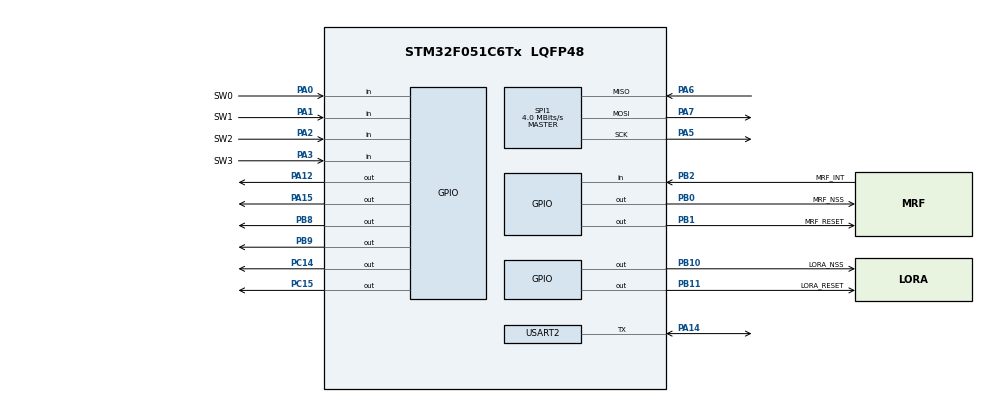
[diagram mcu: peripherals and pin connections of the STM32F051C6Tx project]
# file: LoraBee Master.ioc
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Mcu.Family=STM32F0
Mcu.Name=STM32F051C6Tx
Mcu.Package=LQFP48
PA0.GPIO_Label=SW0
PA0.GPIO_PuPd=GPIO_PULLUP
PA0.Signal=GPIO_Input
PA1.GPIO_Label=SW1
PA1.GPIO_PuPd=GPIO_PULLUP
PA1.Signal=GPIO_Input
PA12.Signal=GPIO_Output
PA14.Mode=Half_duplex(single_wire_mode)
PA14.Signal=USART2_TX
PA15.Signal=GPIO_Output
PA2.GPIO_Label=SW2
PA2.GPIO_PuPd=GPIO_PULLUP
PA2.Signal=GPIO_Input
PA3.GPIO_Label=SW3
PA3.GPIO_PuPd=GPIO_PULLUP
PA3.Signal=GPIO_Input
PA5.Mode=Full_Duplex_Master
PA5.Signal=SPI1_SCK
PA6.Mode=Full_Duplex_Master
PA6.Signal=SPI1_MISO
PA7.Mode=Full_Duplex_Master
PA7.Signal=SPI1_MOSI
PB0.GPIO_Label=MRF_NSS
PB0.GPIO_PuPd=GPIO_PULLUP
PB0.PinState=GPIO_PIN_SET
PB0.Signal=GPIO_Output
PB1.GPIO_Label=MRF_RESET
PB1.PinState=GPIO_PIN_SET
PB1.Signal=GPIO_Output
PB10.GPIO_Label=LORA_NSS
PB10.GPIO_PuPd=GPIO_PULLUP
PB10.PinState=GPIO_PIN_SET
PB10.Signal=GPIO_Output
PB11.GPIO_Label=LORA_RESET
PB11.GPIO_PuPd=GPIO_NOPULL
PB11.PinState=GPIO_PIN_SET
PB11.Signal=GPIO_Output
PB2.GPIO_Label=MRF_INT
PB2.GPIO_PuPd=GPIO_PULLUP
PB2.Signal=GPIO_Input
PB8.Signal=GPIO_Output
PB9.Signal=GPIO_Output
PC14-OSC32_IN.Signal=GPIO_Output
PC15-OSC32_OUT.Signal=GPIO_Output
ProjectManager.HeapSize=0x200
ProjectManager.StackSize=0x400
ProjectManager.TargetToolchain=STM32CubeIDE
SPI1.CalculateBaudRate=4.0 MBits/s
SPI1.DataSize=SPI_DATASIZE_8BIT
SPI1.Direction=SPI_DIRECTION_2LINES
SPI1.Mode=SPI_MODE_MASTER
SPI1.VirtualType=VM_MASTER
USART2.VirtualMode-Half_duplex(single_wire_mode)=VM_ASYNC
board=custom

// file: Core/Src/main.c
/* USER CODE BEGIN Header */
/**
 ******************************************************************************
 * @file           : main.c
 * @brief          : Main program body
 ******************************************************************************
 * @attention
 *
 * <h2><center>&copy; Copyright (c) 2020 STMicroelectronics.
 * All rights reserved.</center></h2>
 *
 * This software component is licensed by ST under BSD 3-Clause license,
 * the "License"; You may not use this file except in compliance with the
 * License. You may obtain a copy of the License at:
 *                        opensource.org/licenses/BSD-3-Clause
 *
 ******************************************************************************
 */
/* USER CODE END Header */
#include "main.h"

/* USER CODE BEGIN Includes */
#include "lora_sx1276.h"
#include <strings.h>
#include <string.h>
#include <stdio.h>
#include "retarget.h"
#include "experiments.h"
#include "lib_mrf24j.h"

/* USER CODE END Includes */

SPI_HandleTypeDef hspi1;

UART_HandleTypeDef huart2;

void SystemClock_Config(void);
static void MX_GPIO_Init(void);
static void MX_SPI1_Init(void);
static void MX_USART2_UART_Init(void);

/* USER CODE BEGIN 0 */
uint8_t count_lora = 0;
uint8_t count_mrf = 0;
char val[4]; // Char array for numbers
uint8_t last_mrf_rssi = 0; // Last MRF packet RSSI
uint8_t last_lora_rssi = 0; // Last Lora packet RSSI
uint8_t last_lora_TA = 0;
uint8_t last_lora_TB = 0;
uint8_t last_lora_TC = 0;
uint8_t last_mrf_TA = 0;
uint8_t last_mrf_TB = 0;
uint8_t last_mrf_TC = 0;
uint8_t total_lora = 0;
uint8_t total_mrf = 0;
uint8_t live_vals[4] = {0};
char DEVICE_ID[] = "A";
/* USER CODE END 0 */

int main(void) {
    /* USER CODE BEGIN 1 */
    uint8_t PROGRAM = 0;
    // Modes:
    /*
     * Tower: This collects 1 packet from the environment and displays is RSSI value
     * 			0: Print		1: Collect MRF		2: Collect LORA		3: Check functionality
     * Joint: This collects all available packets in the network. It collects until enough have been obtained and displays them or till the limit is reached
     * 			0: Print		1: Collect LORA
     * Count: Counts the number of packets received and auto updates the counter
     * Live: Receive packet RSSI's as they come in
     * 			0: Pause		1: LoRa
     *
     * */
    /* USER CODE END 1 */

    /* MCU Configuration--------------------------------------------------------*/

    /* Reset of all peripherals, Initializes the Flash interface and the Systick. */
    HAL_Init();

    /* Configure the system clock */
    SystemClock_Config();

    /* Initialize all configured peripherals */
    MX_GPIO_Init();
    MX_SPI1_Init();
    MX_USART2_UART_Init();
    /* USER CODE BEGIN 2 */
    RetargetInit( & huart2);
    // Init LCD
    init_LCD();

    // Initialise LORA
    lora_sx1276 lora;
    uint8_t res = lora_init( & lora, & hspi1, LORA_NSS_GPIO_Port, LORA_NSS_Pin, LORA_BASE_FREQUENCY_EU);
    uint8_t ver = lora_version( & lora);
    _delay_ms(100);
    printf("Starting Lora up...");
    if (res != LORA_OK) {
        // Initialization failed
        printf("failed\n");
        lcd_putstring("LORA failed!");
        lcd_command(LINE_TWO);
        lcd_putstring("Please reset");

        while (1) {
            if (HAL_GPIO_ReadPin(SW0_GPIO_Port, SW0_Pin) == 0) {
                _delay_ms(DEBOUNCE);
                lcd_command(CLEAR);
                lcd_putstring("Bypass LORA");
                break;
            }
            _delay_ms(1000);
        }

    } else {
        printf("\nLora version: %d\n", ver);
        lcd_putstring("LORA up!");
    }

    // Initialize MRF module
    mrf_reset();
    mrf_deselect();
    printf("MRF starting up...");
    uint8_t g = mrf_read_short(MRF_RXMCR);
    if (g != 0x00) {
        // Initialization failed
        UlToStr(val, g, 3);
        lcd_putstring(val);
        lcd_command(LINE_TWO);
        printf("failed\n");
        lcd_putstring("MRF failed!");
        lcd_command(LINE_TWO);
        lcd_putstring("Please reset");
        while (1) {
            if (HAL_GPIO_ReadPin(SW0_GPIO_Port, SW0_Pin) == 0) {
                _delay_ms(DEBOUNCE);
                lcd_command(CLEAR);
                lcd_putstring("Bypass MRF");
                break;
            }
            _delay_ms(1000);
        }
    } else {
        mrf_write_short(MRF_SOFTRST, 0x7); // from manual
        while ((mrf_read_short(MRF_SOFTRST) & 0x7) != 0) {
            ; // wait for soft reset to finish
        }
        mrf_init();
        mrf_set_ignorebytes(2);
        mrf_pan_write(0xFFFF);
        lcd_putstring("MRF up!");
    }

    mrf_promiscuous(1);
    mrf_address16_write(0xFFFF);

    _delay_ms(1000);
    lcd_command(CLEAR);
    lcd_putstring("Setup complete");

    /* USER CODE END 2 */

    /* Infinite loop */
    /* USER CODE BEGIN WHILE */
    while (1) {
        switch (PROGRAM) {
        case 0: // Default with access to separate receiveing stations.
            if (HAL_GPIO_ReadPin(SW0_GPIO_Port, SW0_Pin) == 0) {
                _delay_ms(DEBOUNCE);
                if (HAL_GPIO_ReadPin(SW0_GPIO_Port, SW0_Pin) == 0) {
                    _delay_ms(DEBOUNCE);
                    lcd_command(CLEAR);
                    lcd_putstring("Going into tower mode.");
                    _delay_ms(1000);
                    PROGRAM = 1;
                    continue;
                }
                print_display();
            }

            if (HAL_GPIO_ReadPin(SW1_GPIO_Port, SW1_Pin) == 0) {
                _delay_ms(DEBOUNCE);
                lcd_command(CLEAR); // Clear LCD
                lcd_putstring("Obtaining MRF");
                uint8_t t = 0;
                volatile uint8_t counter = 0;

                uint8_t tmp = last_mrf_rssi;
                lcd_command(LINE_TWO);
                while (last_mrf_rssi == tmp) {
                    receive_mrf();
                    if (counter >= MIN_WAIT) {
                        t = 1;
                        break;
                    }
                    counter += 1; // counter will get to 100ms * ( MIN_WAIT = 100) = 10s

                    if (counter % 100 == 0) {
                        lcd_putchar('.');
                    }
                }

                if (t) {
                    last_mrf_rssi = 0;
                    lcd_command(CLEAR);
                    lcd_putstring("MRF failed");
                } else {
                    print_display();
                }
            }

            if (HAL_GPIO_ReadPin(SW2_GPIO_Port, SW2_Pin) == 0) {
                _delay_ms(DEBOUNCE);
                lcd_command(CLEAR); // Clear LCD
                lcd_putstring("Obtaining LORA");
                uint8_t t = 0;
                volatile uint8_t counter = 0;

                uint8_t tmp = last_lora_rssi;
                lcd_command(LINE_TWO);
                while (last_lora_rssi == tmp) {
                    receive_lora(lora);
                    if (counter >= MIN_WAIT) {
                        t = 1;
                        break;
                    }
                    counter += 50;

                    lcd_putstring("...");
                }

                if (t) {
                    last_lora_rssi = 0;
                    lcd_command(CLEAR);
                    lcd_putstring("LORA failed");
                } else {
                    print_display();
                }
            }

            if (HAL_GPIO_ReadPin(SW3_GPIO_Port, SW3_Pin) == 0) {
                _delay_ms(DEBOUNCE);
                lcd_command(CLEAR); // Clear LCD
                lcd_putstring("LORA --> ");
                uint8_t t = 0;
                volatile uint8_t counter = 0;

                uint8_t tmp = last_lora_rssi;
                while (last_lora_rssi == tmp) {
                    receive_lora(lora);
                    if (counter >= MIN_WAIT) {
                        t = 1;
                        break;
                    }
                    counter += 50;
                }

                if (t) {
                    last_lora_rssi = 0;
                    lcd_putstring("FAIL");
                } else {
                    lcd_putstring("GOOD");
                }

                lcd_command(LINE_TWO);
                lcd_putstring("MRF --> ");
                t = 0;
                counter = 0;

                tmp = last_mrf_rssi;

                while (last_mrf_rssi == tmp) {
                    receive_mrf();
                    if (counter >= MIN_WAIT) {
                        t = 1;
                        break;
                    }
                    counter += 1; // counter will get to 100ms * ( MIN_WAIT = 100) = 10s
                }

                if (t) {
                    last_mrf_rssi = 0;
                    lcd_putstring("FAIL");
                } else {
                    lcd_putstring("GOOD");
                }
            }

            break;
        case 1:
            if (HAL_GPIO_ReadPin(SW0_GPIO_Port, SW0_Pin) == 0) {
                _delay_ms(DEBOUNCE);
                if (HAL_GPIO_ReadPin(SW0_GPIO_Port, SW0_Pin) == 0) {
                    _delay_ms(DEBOUNCE);
                    lcd_command(CLEAR);
                    lcd_putstring("Going into count mode.");
                    _delay_ms(1000);
                    PROGRAM = 2;
                    continue;
                }
                print_joint();
            }

            if (HAL_GPIO_ReadPin(SW3_GPIO_Port, SW3_Pin) == 0) {
                _delay_ms(DEBOUNCE);
                lcd_command(CLEAR);
                lcd_putstring("MRF Test - ");
                uint8_t g = mrf_read_short(0x12);

                if (g == 0x39) {
                    lcd_command(LINE_TWO);
                    lcd_putstring("Working");
                } else {
                    UlToStr(val, g, 3);
                    lcd_putstring(val);
                    lcd_command(LINE_TWO);
                    lcd_putstring("Fault in SPI lines");
                }
                _delay_ms(2000);
                print_joint();
            }

            if (HAL_GPIO_ReadPin(SW1_GPIO_Port, SW1_Pin) == 0) {
                _delay_ms(DEBOUNCE);
                lora_mode_receive_continious( & lora);
                // Update LORA
                printf("Lora receiving....");
                lcd_command(CLEAR);
                lcd_putstring("Fetching LORA");
                lcd_command(LINE_TWO);
                uint8_t buffer[32];
                uint8_t loops = 0;
                uint8_t A = 0, B = 0, C = 0;
                uint8_t res;
                do {
                    lora_receive_packet_blocking( & lora, buffer, sizeof(buffer), 1000, & res);
                    uint8_t rssi = lora_packet_rssi( & lora);
                    if (res != LORA_OK) {
                        printf(" No message received!\n");
                        lcd_putstring(".");
                    } else {
                        buffer[1] = '\0';
                        if ((uint8_t) buffer[0] == (uint8_t)
                            'A') {
                            A = 1;
                            printf("Got from tower A");
                            lcd_putstring("A");
                            last_lora_TA = rssi;
                        } else if ((uint8_t) buffer[0] == (uint8_t)
                            'B') {
                            B = 1;
                            printf("Got from tower B");
                            lcd_putstring("B");
                            last_lora_TB = rssi;
                        } else if ((uint8_t) buffer[0] == (uint8_t)
                            'C') {
                            C = 1;
                            printf("Got from tower C");
                            lcd_putstring("C");
                            last_lora_TC = rssi;
                        } else {
                            buffer[1] = '\0';
                            lcd_putstring("e");
                            lcd_putstring(buffer);
                        }
                    }
                    loops++;
                    if ((A + B + C) == 3) {
                        break;
                    }
                } while (loops < 15);
                print_joint();
            }
            lora_mode_sleep( & lora);

            if (HAL_GPIO_ReadPin(SW2_GPIO_Port, SW2_Pin) == 0) {

            }

            break;
        case 2:
            if (HAL_GPIO_ReadPin(SW0_GPIO_Port, SW0_Pin) == 0) {
                _delay_ms(DEBOUNCE);
                if (HAL_GPIO_ReadPin(SW0_GPIO_Port, SW0_Pin) == 0) {
                    _delay_ms(DEBOUNCE);
                    lcd_command(CLEAR);
                    lcd_putstring("Live mode");
                    _delay_ms(1000);
                    PROGRAM = 3;
                    mrf_address16_write(0x0001);
                    mrf_promiscuous(0);
                    printf("Set as transmitter.\n");
                    continue;
                }
                print_count();
            }
            uint8_t buffer[32];
            uint8_t res;
            lora_mode_receive_continious( & lora);
            lora_receive_packet_blocking( & lora, buffer, sizeof(buffer), 5000, & res);
            if (res == LORA_OK) {
                count_lora++;
                print_count();
            }
            mrf_check_flags( & handle_rx, & handle_tx);
            if (HAL_GPIO_ReadPin(MRF_INT_GPIO_Port, MRF_INT_Pin) == 0) {
                mrf_interrupt_handler();
                count_mrf++;
            }
            break;
        case 3:
            if (HAL_GPIO_ReadPin(SW0_GPIO_Port, SW0_Pin) == 0) {
                _delay_ms(DEBOUNCE);
                if (HAL_GPIO_ReadPin(SW0_GPIO_Port, SW0_Pin) == 0) {
                    _delay_ms(DEBOUNCE);
                    lcd_command(CLEAR);
					lcd_putstring("Going to joint");
					_delay_ms(1000);
					PROGRAM = 0;
                    continue;
                }
                print_live();
            }
            uint8_t p = count_lora;
            receive_lora(lora);

            if (p != count_lora) {
                live_vals[3] = live_vals[2];
                live_vals[2] = live_vals[1];
                live_vals[1] = live_vals[0];
                live_vals[0] = last_lora_rssi;
            }

            print_live();
            _delay_ms(500);
            break;
        default:
        	PROGRAM = 0;
        	lcd_command(CLEAR);
			lcd_putstring("Going to joint");
            break;
        }
        _delay_ms(10);
        /* USER CODE END WHILE */

    }
}

void SystemClock_Config(void) {
    RCC_OscInitTypeDef RCC_OscInitStruct = {
        0
    };
    RCC_ClkInitTypeDef RCC_ClkInitStruct = {
        0
    };

    /** Initializes the RCC Oscillators according to the specified parameters
     * in the RCC_OscInitTypeDef structure.
     */
    RCC_OscInitStruct.OscillatorType = RCC_OSCILLATORTYPE_HSI;
    RCC_OscInitStruct.HSIState = RCC_HSI_ON;
    RCC_OscInitStruct.HSICalibrationValue = RCC_HSICALIBRATION_DEFAULT;
    RCC_OscInitStruct.PLL.PLLState = RCC_PLL_NONE;
    if (HAL_RCC_OscConfig( & RCC_OscInitStruct) != HAL_OK) {
        Error_Handler();
    }
    /** Initializes the CPU, AHB and APB buses clocks
     */
    RCC_ClkInitStruct.ClockType = RCC_CLOCKTYPE_HCLK | RCC_CLOCKTYPE_SYSCLK |
        RCC_CLOCKTYPE_PCLK1;
    RCC_ClkInitStruct.SYSCLKSource = RCC_SYSCLKSOURCE_HSI;
    RCC_ClkInitStruct.AHBCLKDivider = RCC_SYSCLK_DIV1;
    RCC_ClkInitStruct.APB1CLKDivider = RCC_HCLK_DIV1;

    if (HAL_RCC_ClockConfig( & RCC_ClkInitStruct, FLASH_LATENCY_0) != HAL_OK) {
        Error_Handler();
    }
}

static void MX_SPI1_Init(void) {

    /* SPI1 parameter configuration*/
    hspi1.Instance = SPI1;
    hspi1.Init.Mode = SPI_MODE_MASTER;
    hspi1.Init.Direction = SPI_DIRECTION_2LINES;
    hspi1.Init.DataSize = SPI_DATASIZE_8BIT;
    hspi1.Init.CLKPolarity = SPI_POLARITY_LOW;
    hspi1.Init.CLKPhase = SPI_PHASE_1EDGE;
    hspi1.Init.NSS = SPI_NSS_SOFT;
    hspi1.Init.BaudRatePrescaler = SPI_BAUDRATEPRESCALER_2;
    hspi1.Init.FirstBit = SPI_FIRSTBIT_MSB;
    hspi1.Init.TIMode = SPI_TIMODE_DISABLE;
    hspi1.Init.CRCCalculation = SPI_CRCCALCULATION_DISABLE;
    hspi1.Init.CRCPolynomial = 7;
    hspi1.Init.CRCLength = SPI_CRC_LENGTH_DATASIZE;
    hspi1.Init.NSSPMode = SPI_NSS_PULSE_ENABLE;
    if (HAL_SPI_Init( & hspi1) != HAL_OK) {
        Error_Handler();
    }

}

static void MX_USART2_UART_Init(void) {

    huart2.Instance = USART2;
    huart2.Init.BaudRate = 38400;
    huart2.Init.WordLength = UART_WORDLENGTH_8B;
    huart2.Init.StopBits = UART_STOPBITS_1;
    huart2.Init.Parity = UART_PARITY_NONE;
    huart2.Init.Mode = UART_MODE_TX_RX;
    huart2.Init.HwFlowCtl = UART_HWCONTROL_NONE;
    huart2.Init.OverSampling = UART_OVERSAMPLING_16;
    huart2.Init.OneBitSampling = UART_ONE_BIT_SAMPLE_DISABLE;
    huart2.AdvancedInit.AdvFeatureInit = UART_ADVFEATURE_NO_INIT;
    if (HAL_HalfDuplex_Init( & huart2) != HAL_OK) {
        Error_Handler();
    }

}

static void MX_GPIO_Init(void) {
    GPIO_InitTypeDef GPIO_InitStruct = {
        0
    };

    /* GPIO Ports Clock Enable */
    __HAL_RCC_GPIOC_CLK_ENABLE();
    __HAL_RCC_GPIOA_CLK_ENABLE();
    __HAL_RCC_GPIOB_CLK_ENABLE();

    /*Configure GPIO pin Output Level */
    HAL_GPIO_WritePin(GPIOC, GPIO_PIN_14 | GPIO_PIN_15, GPIO_PIN_RESET);

    /*Configure GPIO pin Output Level */
    HAL_GPIO_WritePin(GPIOB, MRF_NSS_Pin | MRF_RESET_Pin | LORA_NSS_Pin | LORA_RESET_Pin, GPIO_PIN_SET);

    /*Configure GPIO pin Output Level */
    HAL_GPIO_WritePin(GPIOA, GPIO_PIN_12 | GPIO_PIN_15, GPIO_PIN_RESET);

    /*Configure GPIO pin Output Level */
    HAL_GPIO_WritePin(GPIOB, GPIO_PIN_8 | GPIO_PIN_9, GPIO_PIN_RESET);

    /*Configure GPIO pins : PC14 PC15 */
    GPIO_InitStruct.Pin = GPIO_PIN_14 | GPIO_PIN_15;
    GPIO_InitStruct.Mode = GPIO_MODE_OUTPUT_PP;
    GPIO_InitStruct.Pull = GPIO_NOPULL;
    GPIO_InitStruct.Speed = GPIO_SPEED_FREQ_LOW;
    HAL_GPIO_Init(GPIOC, & GPIO_InitStruct);

    /*Configure GPIO pins : SW0_Pin SW1_Pin SW2_Pin SW3_Pin */
    GPIO_InitStruct.Pin = SW0_Pin | SW1_Pin | SW2_Pin | SW3_Pin;
    GPIO_InitStruct.Mode = GPIO_MODE_INPUT;
    GPIO_InitStruct.Pull = GPIO_PULLUP;
    HAL_GPIO_Init(GPIOA, & GPIO_InitStruct);

    /*Configure GPIO pins : MRF_NSS_Pin LORA_NSS_Pin */
    GPIO_InitStruct.Pin = MRF_NSS_Pin | LORA_NSS_Pin;
    GPIO_InitStruct.Mode = GPIO_MODE_OUTPUT_PP;
    GPIO_InitStruct.Pull = GPIO_PULLUP;
    GPIO_InitStruct.Speed = GPIO_SPEED_FREQ_LOW;
    HAL_GPIO_Init(GPIOB, & GPIO_InitStruct);

    /*Configure GPIO pins : MRF_RESET_Pin LORA_RESET_Pin PB8 PB9 */
    GPIO_InitStruct.Pin = MRF_RESET_Pin | LORA_RESET_Pin | GPIO_PIN_8 | GPIO_PIN_9;
    GPIO_InitStruct.Mode = GPIO_MODE_OUTPUT_PP;
    GPIO_InitStruct.Pull = GPIO_NOPULL;
    GPIO_InitStruct.Speed = GPIO_SPEED_FREQ_LOW;
    HAL_GPIO_Init(GPIOB, & GPIO_InitStruct);

    /*Configure GPIO pin : MRF_INT_Pin */
    GPIO_InitStruct.Pin = MRF_INT_Pin;
    GPIO_InitStruct.Mode = GPIO_MODE_INPUT;
    GPIO_InitStruct.Pull = GPIO_PULLUP;
    HAL_GPIO_Init(MRF_INT_GPIO_Port, & GPIO_InitStruct);

    /*Configure GPIO pins : PA12 PA15 */
    GPIO_InitStruct.Pin = GPIO_PIN_12 | GPIO_PIN_15;
    GPIO_InitStruct.Mode = GPIO_MODE_OUTPUT_PP;
    GPIO_InitStruct.Pull = GPIO_NOPULL;
    GPIO_InitStruct.Speed = GPIO_SPEED_FREQ_LOW;
    HAL_GPIO_Init(GPIOA, & GPIO_InitStruct);

}

/* USER CODE BEGIN 4 */
void print_display() {
    lcd_command(0x01);
    lcd_putstring(" LORA  ||  MRF  ");
    lcd_command(0xC0); // Next line
    UlToStr(val, count_lora, 3);
    lcd_putstring(val);
    lcd_putstring(" ");
    UlToStr(val, last_lora_rssi, 3);
    lcd_putstring(val);
    lcd_putstring("||");
    UlToStr(val, count_mrf, 3);
    lcd_putstring(val);
    lcd_putstring(" ");
    UlToStr(val, last_mrf_rssi, 3);
    lcd_putstring(val);
}

void print_joint() {
    lcd_command(CLEAR);
    lcd_putstring("LORA ");
    UlToStr(val, last_lora_TA, 3);
    lcd_putstring(val);
    lcd_putstring(" ");
    UlToStr(val, last_lora_TB, 3);
    lcd_putstring(val);
    lcd_putstring(" ");
    UlToStr(val, last_lora_TC, 3);
    lcd_putstring(val);
    lcd_command(0xC0); // Next line
    lcd_putstring(" MRF ");
    UlToStr(val, last_mrf_TA, 3);
    lcd_putstring(val);
    lcd_putstring(" ");
    UlToStr(val, last_mrf_TB, 3);
    lcd_putstring(val);
    lcd_putstring(" ");
    UlToStr(val, last_mrf_TC, 3);
    lcd_putstring(val);
}

void print_count() {
    lcd_command(CLEAR);
    lcd_putstring("LORA: ");
    UlToStr(val, count_lora, 4);
    lcd_putstring(val);
    lcd_command(LINE_TWO);
    lcd_putstring("MRF:  ");
    UlToStr(val, count_mrf, 4);
    lcd_putstring(val);
}

void print_distance(void) {
    lcd_command(CLEAR);
    lcd_putstring("LORA ");
    UlToStr(val, get_lora_distance(last_lora_TA), 3);
    lcd_putstring(val);
    lcd_putstring(" ");
    UlToStr(val, get_lora_distance(last_lora_TB), 3);
    lcd_putstring(val);
    lcd_putstring(" ");
    UlToStr(val, get_lora_distance(last_lora_TC), 3);
    lcd_putstring(val);
    lcd_command(0xC0); // Next line
    lcd_putstring(" MRF ");
    UlToStr(val, get_mrf_distance(last_mrf_TA), 3);
    lcd_putstring(val);
    lcd_putstring(" ");
    UlToStr(val, get_mrf_distance(last_mrf_TB), 3);
    lcd_putstring(val);
    lcd_putstring(" ");
    UlToStr(val, get_mrf_distance(last_mrf_TC), 3);
    lcd_putstring(val);
}

void print_live() {
    lcd_command(LINE_TWO);
    UlToStr(val, get_mrf_distance(live_vals[3]), 3);
    lcd_putstring(val);
    lcd_putstring(" ");
    UlToStr(val, get_mrf_distance(live_vals[2]), 3);
    lcd_putstring(val);
    lcd_putstring(" ");
    UlToStr(val, get_mrf_distance(live_vals[1]), 3);
    lcd_putstring(val);
    lcd_putstring(" ");
    UlToStr(val, get_mrf_distance(last_lora_rssi), 3);
    lcd_putstring(val);
    lcd_putstring(" ");
}

uint8_t get_lora_distance(uint8_t rssi) {
    return rssi / 8;
}

uint8_t get_mrf_distance(uint8_t rssi) {
    return rssi / 4;
}

void mrf_reset(void) {
    HAL_GPIO_WritePin(MRF_RESET_GPIO_Port, MRF_RESET_Pin, 0);
    _delay_ms(10);
    HAL_GPIO_WritePin(MRF_RESET_GPIO_Port, MRF_RESET_Pin, 1);
    _delay_ms(20);
}

void handle_rx(mrf_rx_info_t * rxinfo, uint8_t * rx_buffer) {
    printf("MRF RSSI=%d\n", rxinfo -> rssi);
    last_mrf_rssi = rxinfo -> rssi;
    count_mrf++;
}

void handle_tx(mrf_tx_info_t * txinfo) {
    lcd_command(LINE_TWO);
    lcd_putstring("MRF - ");
    if (txinfo -> tx_ok) {
        lcd_putstring("Sent ");
        lcd_putstring(DEVICE_ID[0]);
        _delay_ms(MED_WAIT);
        printf("MRF message sent!\n");
    } else {
        lcd_putstring("Fail!");
        _delay_ms(MED_WAIT);
        printf("MRF transmission failed after %d retries\n", txinfo -> retries);
    }
    lcd_putstring("end");
}

void mrf_select(void) {
    HAL_GPIO_WritePin(MRF_NSS_GPIO_Port, MRF_NSS_Pin, 0);
    _delay_ms(100);
}

void mrf_deselect(void) {
    HAL_GPIO_WritePin(MRF_NSS_GPIO_Port, MRF_NSS_Pin, 1);
}

uint8_t spi_tx(uint8_t cData) {
    uint8_t buff;
    HAL_SPI_TransmitReceive( & hspi1, & cData, & buff, sizeof(buff), 100);
    return buff;
}

void _delay_ms(int t) {
    HAL_Delay(t);
}

void transmit_mrf() {
    lcd_command(LINE_TWO);
    lcd_putstring("MRF - ");
    printf("Sending MRF...");
    mrf_send16(0xFFFF, 8, &DEVICE_ID);
    HAL_Delay(500);
    mrf_check_flags( & handle_rx, & handle_tx);
    if (HAL_GPIO_ReadPin(MRF_INT_GPIO_Port, MRF_INT_Pin) == 0) {
    	lcd_putstring("-i-");
        mrf_interrupt_handler();
        mrf_check_flags( & handle_rx, & handle_tx);
    }
}

void transmit_lora(lora_sx1276 lora) {
    printf("Sending LORA...");

    uint8_t res = lora_send_packet( & lora, (uint8_t * ) DEVICE_ID, 1);
    HAL_Delay(300);

    lcd_command(CURSOR_HOME);
    lcd_putstring("LORA - ");

    if (res != LORA_OK) {
        // Send failed
        lcd_putstring("Fail!");
        printf("Send failed\n");
    } else {
        lcd_putstring("Sent ");
        lcd_putstring(DEVICE_ID[0]);
        printf("Packet sent!\n");
    }
}

void receive_mrf() {
    printf("MRF receiving....");
    mrf_check_flags( & handle_rx, & handle_tx);
    if (HAL_GPIO_ReadPin(MRF_INT_GPIO_Port, MRF_INT_Pin) == 0) {
        printf("\n");
        mrf_interrupt_handler();
    } else {
        printf(" Nothing to receive!\n");
    }

}

void receive_lora(lora_sx1276 lora) {
    printf("Lora receiving....");
    uint8_t buffer[32];

    lora_mode_receive_continious( & lora);

    uint8_t res;
    uint8_t len = lora_receive_packet_blocking( & lora, buffer, sizeof(buffer), 1500, & res);
    uint8_t rssi = lora_packet_rssi( & lora);
    if (res != LORA_OK) {
        printf(" No message received!\n");
    } else {
        buffer[len] = 0; // null terminate string to print it
        printf("success!\nData: %s\n", buffer);
        printf("LORA RSSI = %d\n", rssi);
        last_lora_rssi = rssi;
        count_lora++;
    }
}

void UlToStr(char * s, unsigned long bin, unsigned char n) {
    s += n;
    * s = '\0';

    while (n--) {
        *--s = (bin % 10) + '0';
        bin /= 10;
    }
}
/* USER CODE END 4 */

void Error_Handler(void) {
}

/************************ (C) COPYRIGHT STMicroelectronics *****END OF FILE****/
